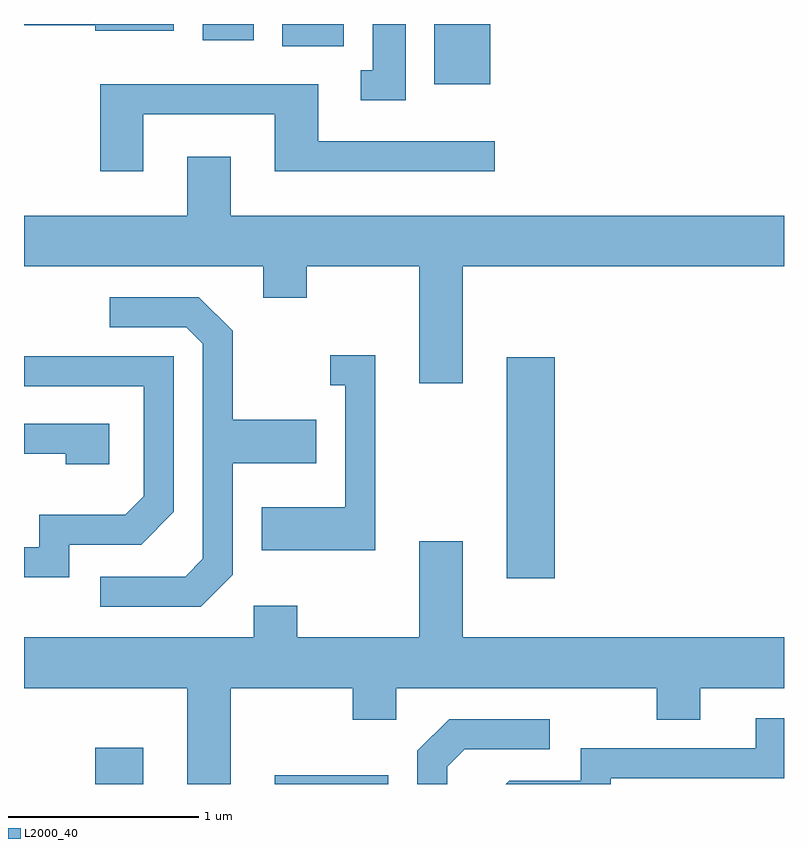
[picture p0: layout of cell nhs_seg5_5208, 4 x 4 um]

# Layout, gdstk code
import gdstk
lib = gdstk.Library(unit=1e-6, precision=1e-09)
def R(c, l, rs):  # rectangles x0, y0, x1, y1
    for r in rs: c.add(gdstk.rectangle(r[:2], r[2:], *l))
def P(c, l, *ps):  # polygons
    for p in ps: c.add(gdstk.Polygon(p, *l))
L2000_40 = (2000, 40)

nhs_seg5_5208 = lib.new_cell('nhs_seg5_5208')
R(nhs_seg5_5208, L2000_40, [(339.986,1454.072,340.239,1454.264), (340.931,1454.072,341.529,1454.119), (342.151,1455.156,342.404,1456.319), (341.771,1457.756,342.064,1458.072), (340.971,1457.956,341.294,1458.072), (340.551,1457.986,340.819,1458.072)])
P(nhs_seg5_5208, L2000_40, [(340.399,1458.072),(339.611,1458.072),(339.611,1458.066),(339.986,1458.066),(339.986,1458.036),(340.399,1458.036)],
  [(341.619,1458.072),(341.446,1458.072),(341.446,1457.829),(341.383,1457.829),(341.383,1457.671),(341.619,1457.671)],
  [(340.239,1457.596),(340.931,1457.596),(340.931,1457.296),(342.088,1457.296),(342.088,1457.454),(341.159,1457.454),(341.159,1457.754),(340.011,1457.754),(340.011,1457.296),(340.239,1457.296)],
  [(341.919,1456.796),(343.611,1456.796),(343.611,1457.064),(340.699,1457.064),(340.699,1457.374),(340.471,1457.374),(340.471,1457.064),(339.611,1457.064),(339.611,1456.796),(340.871,1456.796),(340.871,1456.631),(341.099,1456.631),(341.099,1456.796),(341.691,1456.796),(341.691,1456.181),(341.919,1456.181)],
  [(340.709,1455.174),(340.709,1455.761),(341.149,1455.761),(341.149,1455.989),(340.709,1455.989),(340.709,1456.457),(340.532,1456.634),(340.063,1456.634),(340.063,1456.476),(340.464,1456.476),(340.551,1456.389),(340.551,1455.257),(340.459,1455.164),(340.013,1455.164),(340.013,1455.006),(340.542,1455.006)],
  [(341.459,1456.329),(341.223,1456.329),(341.223,1456.171),(341.301,1456.171),(341.301,1455.529),(340.861,1455.529),(340.861,1455.301),(341.459,1455.301)],
  [(339.849,1455.331),(340.227,1455.331),(340.399,1455.504),(340.399,1456.324),(339.611,1456.324),(339.611,1456.166),(340.241,1456.166),(340.241,1455.587),(340.144,1455.489),(339.691,1455.489),(339.691,1455.319),(339.611,1455.319),(339.611,1455.161),(339.849,1455.161)],
  [(340.059,1455.969),(339.611,1455.969),(339.611,1455.811),(339.831,1455.811),(339.831,1455.756),(340.059,1455.756)],
  [(340.699,1454.576),(341.341,1454.576),(341.341,1454.411),(341.569,1454.411),(341.569,1454.576),(342.941,1454.576),(342.941,1454.411),(343.169,1454.411),(343.169,1454.576),(343.611,1454.576),(343.611,1454.844),(341.919,1454.844),(341.919,1455.349),(341.691,1455.349),(341.691,1454.844),(341.049,1454.844),(341.049,1455.009),(340.821,1455.009),(340.821,1454.844),(339.611,1454.844),(339.611,1454.576),(340.471,1454.576),(340.471,1454.072),(340.699,1454.072)],
  [(342.699,1454.101),(343.611,1454.101),(343.611,1454.419),(343.461,1454.419),(343.461,1454.259),(342.541,1454.259),(342.541,1454.089),(342.164,1454.089),(342.147,1454.072),(342.699,1454.072)],
  [(341.839,1454.164),(341.932,1454.256),(342.378,1454.256),(342.378,1454.414),(341.849,1454.414),(341.681,1454.247),(341.681,1454.072),(341.839,1454.072)])

lib.write_gds('nhs_seg5_5208.gds')
